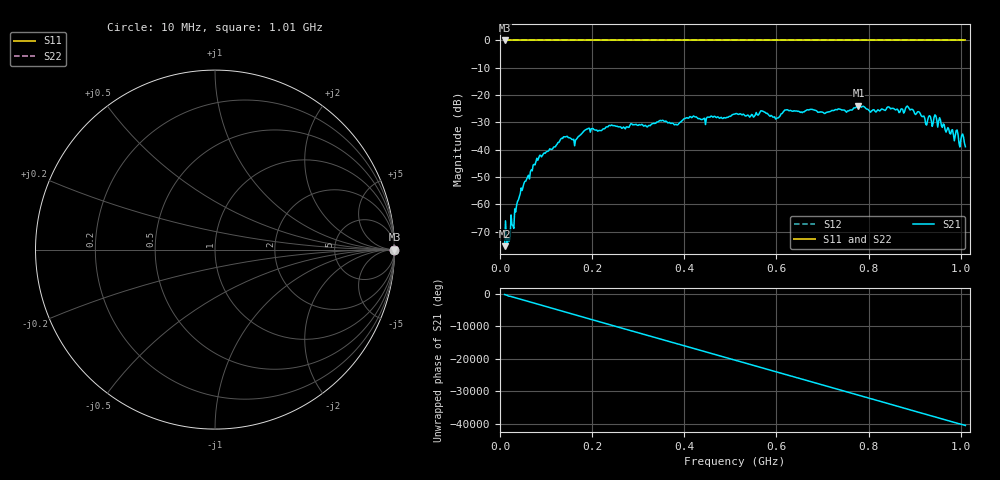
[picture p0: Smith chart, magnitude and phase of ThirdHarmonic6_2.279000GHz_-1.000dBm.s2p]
! 8/17/2025 2:56:37 AM
! C:\ANRITSUVNA\TEMP\TEMP.S2P
! CHANNEL.1
! TR.MEASUREMENT
! RAW.DATA
! RF.CORRECTION.OFF
! AVERAGING.OFF
! IF.BANDWIDTH: 5KHZ
! SWEEPTYPE:  FREQ.SWEEP(Linear)
! Reference Plane Port Info
! PORT:  PORT1  PORT2
! DISTANCE:  0  m  0  m
! TIME:  0  s  0  s
! PHASE.OFFSET:  0  deg.  0  deg.
! LOSS:  0  dB  0  dB
! REF.LOSS:  0  dB  0  dB
! REF.FREQ:  0  Hz  0  Hz
! Power Info
! POWER:  -20  dBm  -20  dBm
! EFF.POWER:  -20  dBm  -20  dBm
! SOURCE.ATTEN:  0  dB  0  dB
! TEST.ATTEN:  0  dB  0  dB
# GHZ S RI R 50.0
! FREQ.GHZ  S11RE  S11IM  S21RE  S21IM  S12RE  S12IM  S22RE  S22IM
!; PortSelection: Port_12
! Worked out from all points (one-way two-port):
!   501 points, 10 MHz to 1.01 GHz, reference 50 ohm
!   highest |S21| = -23.94 dB at 778 MHz (marker M1); lowest = -75.3 dB at 10 MHz (marker M2)
!   lowest |S11| = 0.0 dB at 10 MHz (marker M3)
!   |S11| at or under -10 dB: nowhere
!   |S22| runs from 0.0 to 0.0 dB; largest |S21 - S12| = 1.1
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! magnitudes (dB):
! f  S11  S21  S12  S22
! 10 MHz  0.0  -75.3  0.0  0.0
! 18 MHz  0.0  -72.3  0.0  0.0
! 42 MHz  0.0  -57.2  0.0  0.0
! 82 MHz  0.0  -43.9  0.0  0.0
! 136 MHz  0.0  -35.9  0.0  0.0
! 162 MHz  0.0  -38.6  0.0  0.0
! 178 MHz  0.0  -34.0  0.0  0.0
! 344 MHz  0.0  -29.7  0.0  0.0
! 382 MHz  0.0  -30.7  0.0  0.0
! 416 MHz  0.0  -28.3  0.0  0.0
! 510 MHz  0.0  -26.9  0.0  0.0
! 570 MHz  0.0  -25.9  0.0  0.0
! 602 MHz  0.0  -28.4  0.0  0.0
! 620 MHz  0.0  -25.5  0.0  0.0
! 678 MHz  0.0  -25.3  0.0  0.0
! 778 MHz  0.0  -23.9  0.0  0.0
! 804 MHz  0.0  -26.3  0.0  0.0
! 844 MHz  0.0  -24.4  0.0  0.0
! 884 MHz  0.0  -24.0  0.0  0.0
! 924 MHz  0.0  -30.7  0.0  0.0
! 944 MHz  0.0  -27.2  0.0  0.0
! 1.01 GHz  0.0  -38.9  0.0  0.0
